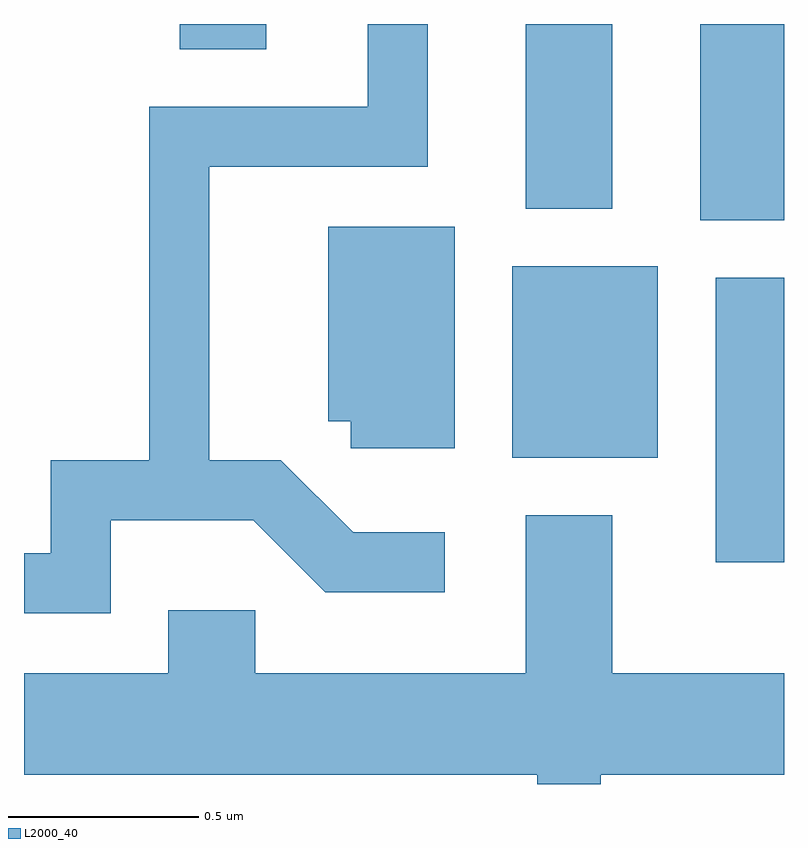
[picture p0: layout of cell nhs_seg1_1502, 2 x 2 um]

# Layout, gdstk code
import gdstk
lib = gdstk.Library(unit=1e-6, precision=1e-09)
def R(c, l, rs):  # rectangles x0, y0, x1, y1
    for r in rs: c.add(gdstk.rectangle(r[:2], r[2:], *l))
def P(c, l, *ps):  # polygons
    for p in ps: c.add(gdstk.Polygon(p, *l))
L2000_40 = (2000, 40)

nhs_seg1_1502 = lib.new_cell('nhs_seg1_1502')
R(nhs_seg1_1502, L2000_40, [(198.431,851.296,198.611,852.044), (197.896,851.571,198.279,852.074), (198.391,852.196,198.611,852.712), (197.931,852.226,198.159,852.712), (197.021,852.646,197.249,852.712)])
P(nhs_seg1_1502, L2000_40, [(196.839,851.406),(197.214,851.406),(197.404,851.216),(197.718,851.216),(197.718,851.374),(197.477,851.374),(197.287,851.564),(197.099,851.564),(197.099,852.336),(197.674,852.336),(197.674,852.712),(197.516,852.712),(197.516,852.494),(196.941,852.494),(196.941,851.564),(196.681,851.564),(196.681,851.319),(196.611,851.319),(196.611,851.161),(196.839,851.161)],
  [(197.744,852.179),(197.411,852.179),(197.411,851.666),(197.471,851.666),(197.471,851.596),(197.744,851.596)],
  [(198.129,850.736),(198.611,850.736),(198.611,851.004),(198.159,851.004),(198.159,851.419),(197.931,851.419),(197.931,851.004),(197.219,851.004),(197.219,851.169),(196.991,851.169),(196.991,851.004),(196.611,851.004),(196.611,850.736),(197.961,850.736),(197.961,850.712),(198.129,850.712)])

lib.write_gds('nhs_seg1_1502.gds')
